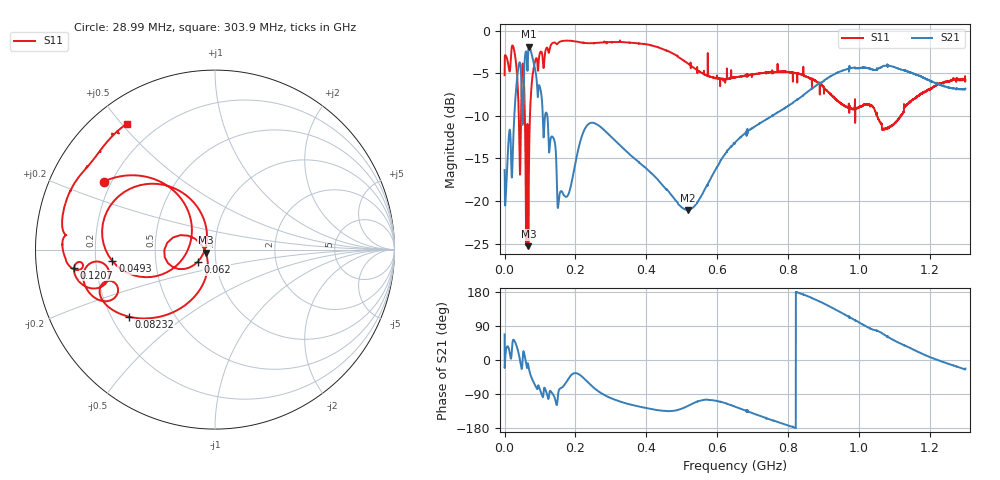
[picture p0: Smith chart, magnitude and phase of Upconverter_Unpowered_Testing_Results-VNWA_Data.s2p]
! ListType=Lin
# MHZ S DB R 50
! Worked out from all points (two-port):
!   4095 points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, 100 kHz to 1.3 GHz, reference 50 ohm
!   highest |S21| = -1.88 dB at 68.98 MHz (marker M1); lowest = -21.1 dB at 517.2 MHz (marker M2)
!   |S21| within 3 dB of the highest: 55.08 MHz to 87.48 MHz (32.39 MHz wide, 45.4 % of centre); 942.7 MHz to 1.142 GHz (198.9 MHz wide, 19.1 % of centre)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
!   lowest |S11| = -25.3 dB at 67.08 MHz (marker M3), VSWR 1.11, Z = 45.1 - j1.6 ohm
!   |S11| at or under -10 dB: 40.09 MHz to 46.37 MHz (6.28 MHz wide, 14.5 % of centre); 57.21 MHz to 71.61 MHz (14.39 MHz wide, 22.3 % of centre); 1.05 GHz to 1.118 GHz (67.15 MHz wide, 6.19 % of centre)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
!   S12 and S22 are empty: the file has one direction only
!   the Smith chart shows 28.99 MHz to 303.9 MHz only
!   S11 on the Smith chart (normalised r, x): 28.99 MHz: 0.17, +0.27; 49.3 MHz: 0.27, -0.05; 62 MHz: 0.82, -0.11; 82.32 MHz: 0.27, -0.32; 120.7 MHz: 0.12, -0.06; 303.9 MHz: 0.10, +0.52
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0.1  -5.25 -168.0  -16.37 67.7  -3000.00 -90.0  -3000.00 -90.0
28.98667  -2.77 148.6  -8.91 48.7  -3000.00 -90.0  -3000.00 -90.0
40.09692  -10.00 123.6  -4.03 15.7  -3000.00 -90.0  -3000.00 -90.0
49.30256  -4.81 -173.6  -9.32 -20.5  -3000.00 -90.0  -3000.00 -90.0
62  -18.52 -144.8  -2.73 -16.2  -3000.00 -90.0  -3000.00 -90.0
67.07897  -25.31 -161.0  -2.20 -15.1  -3000.00 -90.0  -3000.00 -90.0
68.98359  -15.17 -108.5  -1.88 -24.7  -3000.00 -90.0  -3000.00 -90.0
82.3159  -4.33 -142.0  -3.82 -59.6  -3000.00 -90.0  -3000.00 -90.0
120.7256  -2.03 -172.7  -10.08 -93.7  -3000.00 -90.0  -3000.00 -90.0
154.3738  -1.34 172.3  -19.42 -77.5  -3000.00 -90.0  -3000.00 -90.0
216.9087  -1.40 148.5  -12.53 -42.6  -3000.00 -90.0  -3000.00 -90.0
303.8862  -1.35 124.8  -12.59 -102.2  -3000.00 -90.0  -3000.00 -90.0
433.4  -1.98 76.4  -17.57 -132.6  -3000.00 -90.0  -3000.00 -90.0
517.2031  -3.87 20.0  -21.06 -121.1  -3000.00 -90.0  -3000.00 -90.0
593.0703  -5.56 -54.6  -16.45 -107.1  -3000.00 -90.0  -3000.00 -90.0
649.8913  -5.46 -111.8  -13.16 -123.5  -3000.00 -90.0  -3000.00 -90.0
740.3605  -4.91 179.3  -10.38 -154.2  -3000.00 -90.0  -3000.00 -90.0
866.7  -6.49 110.3  -6.69 164.2  -3000.00 -90.0  -3000.00 -90.0
982.2467  -9.18 111.0  -4.37 108.2  -3000.00 -90.0  -3000.00 -90.0
1083.191  -11.41 120.5  -4.13 59.9  -3000.00 -90.0  -3000.00 -90.0
1169.534  -7.62 118.2  -5.32 20.1  -3000.00 -90.0  -3000.00 -90.0
1299.683  -5.81 72.8  -6.82 -22.5  -3000.00 -90.0  -3000.00 -90.0
